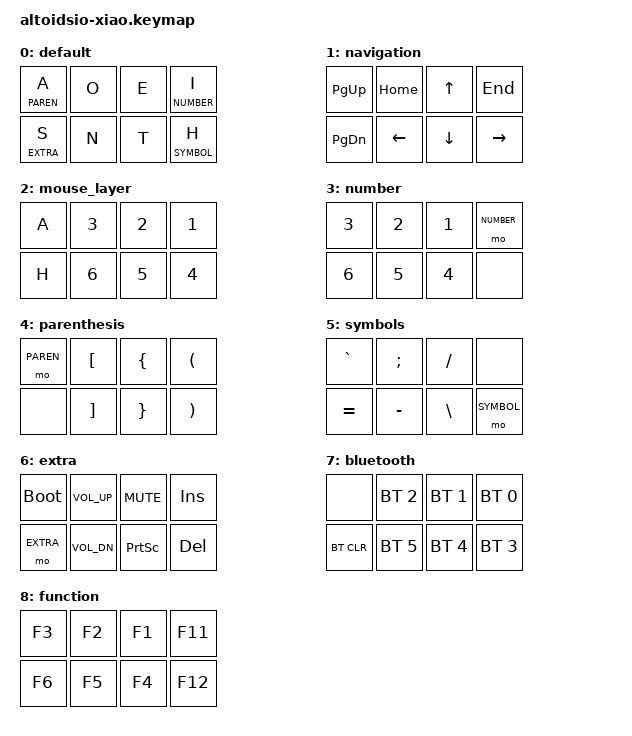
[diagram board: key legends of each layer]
#include <behaviors.dtsi>
#include <dt-bindings/zmk/keys.h>
#include <dt-bindings/zmk/outputs.h>
#include <dt-bindings/zmk/bt.h>

#define BASE    0
#define NAV     1
#define MOUSE   2
#define NUMBER  3
#define PAREN   4
#define SYMBOL  5
#define EXTRA   6
#define BLUE    7
#define FUN     8

#define TIMEOUT_COMBO_2 175
#define TIMEOUT_COMBO_3 175
#define TIMEOUT_COMBO_4 175
#define TIMEOUT_LAYER_HOLD 200
#define TIMEOUT_STICKY_LEADER_KEY 5000

#define KEY_A 0
#define KEY_O 1
#define KEY_E 2
#define KEY_I 3
#define KEY_S 4
#define KEY_N 5
#define KEY_T 6
#define KEY_H 7

&sk {
    release-after-ms = <TIMEOUT_STICKY_LEADER_KEY>;
};
&sl {
    release-after-ms = <TIMEOUT_STICKY_LEADER_KEY>;
};

/ {
    keymap {
        compatible = "zmk,keymap";

        default {
        // -----------------
        // | A | O | E | I |
        // | S | N | T | H |
        // -----------------
            bindings = <
                &layer_parentheticals_kp PAREN A  &kp O   &kp E   &layer_numbers_kp NUMBER I
                &layer_extra_kp EXTRA S     &kp N   &kp T   &layer_symbols_kp SYMBOL H
            >;
        };

        navigation {
        // -----------------
        // |pg+|hom|up |end|
        // |pg-|lft|dn |rgh|
        // -----------------
            bindings = <
                &kp PG_UP   &kp HOME   &kp UP     &kp END 
                &kp PG_DN   &kp LEFT   &kp DOWN   &kp RIGHT 
            >;
        };

        mouse_layer {
        // -----------------
        // |sc+|bt2|up |bt1|
        // |sc-|lft|dn |rgh|
        // -----------------
            bindings = <
            &kp A   &kp 3   &kp 2   &kp 1
            &kp H   &kp 6   &kp 5   &kp 4
            >;
        };

        number {
        //     8   7        
        // -----------------
        // | 3 | 2 | 1 |   |   
        // | 6 | 5 | 4 |   |   
        // -----------------
        //     0   9        
            bindings = <
                &kp N3   &kp N2   &kp N1  &mo NUMBER  
                &kp N6   &kp N5   &kp N4  &none       
            >;
        };

        parenthesis {
        // -----------------
        // |   | [ | { | ( |
        // |   | ] | } | ) |
        // -----------------
            bindings = <
                &mo PAREN  &kp LBKT   &kp LBRC   &kp LPAR
                &none      &kp RBKT   &kp RBRC   &kp RPAR
            >;
        };

        symbols {
        // -----------------
        // | ` | ; | / |   |
        // | = | - | \ |   |
        // -----------------
            bindings = <
                &kp GRAVE   &kp SEMI    &kp SLASH   &none
                &kp EQUAL   &kp MINUS   &kp BSLH    &mo SYMBOL
            >;
        };

        extra {
        // -----------------
        // |bot|v +|mut|ins|
        // |   |v -|psr|del|
        // -----------------
            bindings = <
                &bootloader &kp K_VOL_UP   &kp K_MUTE  &kp INS
                &mo EXTRA   &kp K_VOL_DN   &kp PSCRN   &kp DEL
            >;
        };

        bluetooth {
        // -----------------
        // |   |pr3|pr2|pr1|
        // |   |pr6|pr5|pr4|
        // -----------------
            bindings = <
                &none      &bt BT_SEL 2   &bt BT_SEL 1   &bt BT_SEL 0
                &bt BT_CLR &bt BT_SEL 5   &bt BT_SEL 4   &bt BT_SEL 3
            >;
        };

        function {
        //     8   7        
        // -----------------
        // | 3 | 2 | 1 | 11|
        // | 6 | 5 | 4 | 12|
        // -----------------
        //     0   9        
            bindings = <
                &kp F3   &kp F2   &kp F1  &kp F11  
                &kp F6   &kp F5   &kp F4  &kp F12  
            >;
        };
    };
};

/ {
    combos {
        compatible = "zmk,combos";
		/*****************************************
		 * 2 key combos
		 *****************************************/
		combo_enter   { timeout-ms = <TIMEOUT_COMBO_2>; key-positions = <KEY_I KEY_H>; bindings = <&kp ENTER>; };
		combo_ctrl    { timeout-ms = <TIMEOUT_COMBO_2>; key-positions = <KEY_A KEY_H>; bindings = <&sk LCTRL>; };
		combo_alt     { timeout-ms = <TIMEOUT_COMBO_2>; key-positions = <KEY_A KEY_N>; bindings = <&sk LALT>; };
		combo_bspc    { timeout-ms = <TIMEOUT_COMBO_2>; key-positions = <KEY_E KEY_H>; bindings = <&kp BACKSPACE>; };
		combo_del     { timeout-ms = <TIMEOUT_COMBO_2>; key-positions = <KEY_E KEY_N>; bindings = <&kp DELETE>; };
		combo_l       { layers = <BASE>; timeout-ms = <TIMEOUT_COMBO_2>; key-positions = <KEY_S KEY_H>; bindings = <&kp L>; };
		combo_d       { layers = <BASE>; timeout-ms = <TIMEOUT_COMBO_2>; key-positions = <KEY_H KEY_T>; bindings = <&kp D>; };
		combo_f       { layers = <BASE>; timeout-ms = <TIMEOUT_COMBO_2>; key-positions = <KEY_H KEY_N>; bindings = <&kp F>; };
		combo_g       { layers = <BASE>; timeout-ms = <TIMEOUT_COMBO_2>; key-positions = <KEY_T KEY_N>; bindings = <&kp G>; };
		combo_u       { layers = <BASE>; timeout-ms = <TIMEOUT_COMBO_2>; key-positions = <KEY_I KEY_E>; bindings = <&kp U>; };
		combo_c       { layers = <BASE>; timeout-ms = <TIMEOUT_COMBO_2>; key-positions = <KEY_O KEY_A>; bindings = <&kp C>; };
		combo_m       { layers = <BASE>; timeout-ms = <TIMEOUT_COMBO_2>; key-positions = <KEY_N KEY_S>; bindings = <&kp M>; };
		combo_r       { layers = <BASE>; timeout-ms = <TIMEOUT_COMBO_2>; key-positions = <KEY_I KEY_O>; bindings = <&kp R>; };
		combo_w       { layers = <BASE>; timeout-ms = <TIMEOUT_COMBO_2>; key-positions = <KEY_I KEY_A>; bindings = <&kp W>; };
		combo_y       { layers = <BASE>; timeout-ms = <TIMEOUT_COMBO_2>; key-positions = <KEY_E KEY_O>; bindings = <&kp Y>; };
		combo_period  { layers = <BASE>; timeout-ms = <TIMEOUT_COMBO_2>; key-positions = <KEY_E KEY_T>; bindings = <&kp PERIOD>; };
		combo_comma   { layers = <BASE>; timeout-ms = <TIMEOUT_COMBO_2>; key-positions = <KEY_O KEY_N>; bindings = <&kp COMMA>; };
		combo_quote   { layers = <BASE>; timeout-ms = <TIMEOUT_COMBO_2>; key-positions = <KEY_A KEY_S>; bindings = <&kp SQT>; };
		combo_gui     { layers = <BASE>; timeout-ms = <TIMEOUT_COMBO_2>; key-positions = <KEY_I KEY_S>; bindings = <&sk LGUI>; };
		
		combo_seven   { layers = <NUMBER>; timeout-ms = <TIMEOUT_COMBO_2>; key-positions = <KEY_O KEY_E>; bindings = <&kp N7>; };
		combo_eight   { layers = <NUMBER>; timeout-ms = <TIMEOUT_COMBO_2>; key-positions = <KEY_A KEY_O>; bindings = <&kp N8>; };
		combo_nine    { layers = <NUMBER>; timeout-ms = <TIMEOUT_COMBO_2>; key-positions = <KEY_N KEY_T>; bindings = <&kp N9>; };
		combo_zero    { layers = <NUMBER>; timeout-ms = <TIMEOUT_COMBO_2>; key-positions = <KEY_N KEY_S>; bindings = <&kp N0>; };
		combo_f_seven { layers = <FUN>; timeout-ms = <TIMEOUT_COMBO_2>; key-positions = <KEY_O KEY_E>; bindings = <&kp F7>; };
		combo_f_eight { layers = <FUN>; timeout-ms = <TIMEOUT_COMBO_2>; key-positions = <KEY_A KEY_O>; bindings = <&kp F8>; };
		combo_f_nine  { layers = <FUN>; timeout-ms = <TIMEOUT_COMBO_2>; key-positions = <KEY_N KEY_T>; bindings = <&kp F9>; };
		combo_f_ten   { layers = <FUN>; timeout-ms = <TIMEOUT_COMBO_2>; key-positions = <KEY_N KEY_S>; bindings = <&kp F10>; };


		/*****************************************
		 * 3 key combos
		 *****************************************/
		combo_esc       { timeout-ms = <TIMEOUT_COMBO_3>; key-positions = <KEY_I KEY_E KEY_S>; bindings = <&kp ESC>; };
		combo_layer_nav { timeout-ms = <TIMEOUT_COMBO_3>; key-positions = <KEY_E KEY_H KEY_N>; bindings = <&tog NAV>; };
		combo_k         { layers = <BASE>; timeout-ms = <TIMEOUT_COMBO_3>; key-positions = <KEY_I KEY_E KEY_O>; bindings = <&kp K>; };
		combo_j         { layers = <BASE>; timeout-ms = <TIMEOUT_COMBO_3>; key-positions = <KEY_H KEY_N KEY_T>; bindings = <&kp J>; };
		combo_b         { layers = <BASE>; timeout-ms = <TIMEOUT_COMBO_3>; key-positions = <KEY_N KEY_T KEY_S>; bindings = <&kp B>; };
		combo_p         { layers = <BASE>; timeout-ms = <TIMEOUT_COMBO_3>; key-positions = <KEY_S KEY_N KEY_H>; bindings = <&kp P>; };
		combo_q         { layers = <BASE>; timeout-ms = <TIMEOUT_COMBO_2>; key-positions = <KEY_O KEY_A KEY_H>; bindings = <&kp Q>; };
		combo_v         { layers = <BASE>; timeout-ms = <TIMEOUT_COMBO_3>; key-positions = <KEY_I KEY_O KEY_A>; bindings = <&kp V>; };
		combo_x         { layers = <BASE>; timeout-ms = <TIMEOUT_COMBO_3>; key-positions = <KEY_E KEY_O KEY_A>; bindings = <&kp X>; };
		
		/*****************************************
		 * 4 key combos
		 *****************************************/
		combo_layer_fun { timeout-ms = <TIMEOUT_COMBO_2>; key-positions = <KEY_O KEY_A KEY_N KEY_S>; bindings = <&sl FUN>; };
		combo_layer_bt  { timeout-ms = <TIMEOUT_COMBO_4>; key-positions = <KEY_I KEY_A KEY_S KEY_H>; bindings = <&tog BLUE>; };
		combo_tab       { timeout-ms = <TIMEOUT_COMBO_4>; key-positions = <KEY_I KEY_E KEY_O KEY_S>; bindings = <&kp TAB>; };
		combo_space     { timeout-ms = <TIMEOUT_COMBO_4>; key-positions = <KEY_S KEY_N KEY_T KEY_H>; bindings = <&kp SPACE>; };
		combo_shift     { timeout-ms = <TIMEOUT_COMBO_4>; key-positions = <KEY_H KEY_E KEY_O KEY_A>; bindings = <&sk LSHFT>; };

		combo_z         { layers = <BASE>; timeout-ms = <TIMEOUT_COMBO_4>; key-positions = <KEY_I KEY_E KEY_O KEY_A>; bindings = <&kp Z>; };
		combo_caps_lock { layers = <BASE>; timeout-ms = <TIMEOUT_COMBO_4>; key-positions = <KEY_I KEY_N KEY_T KEY_S>; bindings = <&kp CAPS>; };
	};
		/*****************************************
		 * 8 key combos
		 *****************************************/
		combo_restart { timeout-ms = <TIMEOUT_COMBO_4>; key-positions = <KEY_I KEY_E KEY_O KEY_A KEY_H KEY_T KEY_N KEY_S>; bindings = <&sys_reset>; };
};

/ {
	behaviors {
		layer_base_kp: layer_base_kp { compatible = "zmk,behavior-hold-tap";
						#binding-cells = <2>; tapping-term-ms = <TIMEOUT_LAYER_HOLD>; flavor = "tap-preferred"; 
						bindings = <&mo>, <&kp>; };
		layer_numbers_kp: layer_numbers_kp { compatible = "zmk,behavior-hold-tap";
						#binding-cells = <2>; tapping-term-ms = <TIMEOUT_LAYER_HOLD>; flavor = "tap-preferred"; 
						bindings = <&mo>, <&kp>; };
		layer_symbols_kp: layer_symbols_kp { compatible = "zmk,behavior-hold-tap";
						#binding-cells = <2>; tapping-term-ms = <TIMEOUT_LAYER_HOLD>; flavor = "tap-preferred"; 
						bindings = <&mo>, <&kp>; };
		layer_parentheticals_kp: layer_parentheticals_kp { compatible = "zmk,behavior-hold-tap";
						#binding-cells = <2>; tapping-term-ms = <TIMEOUT_LAYER_HOLD>; flavor = "tap-preferred";
						bindings = <&mo>, <&kp>; };
		layer_extra_kp: layer_extra_kp { compatible = "zmk,behavior-hold-tap";
						#binding-cells = <2>; tapping-term-ms = <TIMEOUT_LAYER_HOLD>; flavor = "tap-preferred";
						bindings = <&mo>, <&kp>; };
		ctrl_alt_kp: ctrl_alt_kp { compatible = "zmk,behavior-hold-tap";
						#binding-cells = <2>; tapping-term-ms = <TIMEOUT_LAYER_HOLD>; flavor = "tap-preferred";
						bindings = <&sk>, <&sk>; };
	};
};
